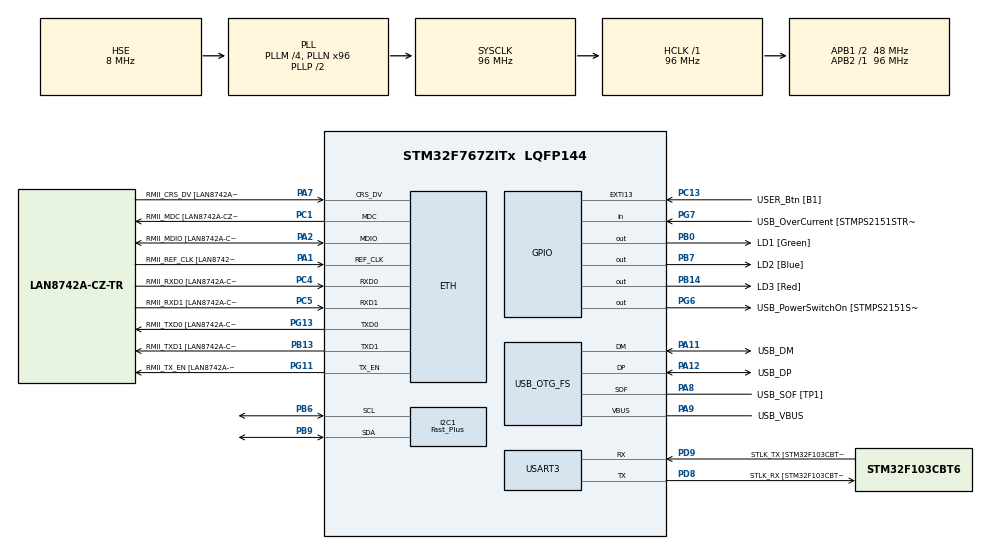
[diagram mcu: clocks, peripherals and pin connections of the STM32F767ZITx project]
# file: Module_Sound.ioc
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ETH.MediaInterface=ETH_MEDIA_INTERFACE_RMII
ETH.PHY_Name=LAN8742A_PHY_ADDRESS
ETH.PHY_Value=0
ETH.PhyAddress=0
I2C1.I2C_Speed_Mode=I2C_Fast_Plus
I2C1.Timing=0x20000209
Mcu.Family=STM32F7
Mcu.Name=STM32F767ZITx
Mcu.Package=LQFP144
NVIC.EXTI15_10_IRQn=true\:0\:0\:false\:false\:true\:true\:true
NVIC.PriorityGroup=NVIC_PRIORITYGROUP_4
NVIC.TIM8_TRG_COM_TIM14_IRQn=true\:0\:0\:false\:false\:true\:true\:true
NVIC.TIM8_UP_TIM13_IRQn=true\:0\:0\:false\:false\:true\:true\:true
PA1.GPIO_Label=RMII_REF_CLK [LAN8742A-CZ-TR_REFCLK0]
PA1.Mode=RMII
PA1.Signal=ETH_REF_CLK
PA10.GPIO_Label=USB_ID
PA10.Signal=USB_OTG_FS_ID
PA11.GPIO_Label=USB_DM
PA11.Mode=Device_Only
PA11.Signal=USB_OTG_FS_DM
PA12.GPIO_Label=USB_DP
PA12.Mode=Device_Only
PA12.Signal=USB_OTG_FS_DP
PA13.GPIO_Label=TMS
PA13.Mode=Serial_Wire
PA13.Signal=SYS_JTMS-SWDIO
PA14.GPIO_Label=TCK
PA14.Mode=Serial_Wire
PA14.Signal=SYS_JTCK-SWCLK
PA2.GPIO_Label=RMII_MDIO [LAN8742A-CZ-TR_MDIO]
PA2.Mode=RMII
PA2.Signal=ETH_MDIO
PA7.GPIO_Label=RMII_CRS_DV [LAN8742A-CZ-TR_CRS_DV]
PA7.Mode=RMII
PA7.Signal=ETH_CRS_DV
PA8.GPIO_Label=USB_SOF [TP1]
PA8.Mode=Activate_SOF_FS
PA8.Signal=USB_OTG_FS_SOF
PA9.GPIO_Label=USB_VBUS
PA9.Mode=Activate_VBUS
PA9.Signal=USB_OTG_FS_VBUS
PB0.GPIO_Label=LD1 [Green]
PB0.Signal=GPIO_Output
PB13.GPIO_Label=RMII_TXD1 [LAN8742A-CZ-TR_TXD1]
PB13.Mode=RMII
PB13.Signal=ETH_TXD1
PB14.GPIO_Label=LD3 [Red]
PB14.Signal=GPIO_Output
PB3.GPIO_Label=SWO
PB3.Signal=SYS_JTDO-SWO
PB6.Mode=I2C
PB6.Signal=I2C1_SCL
PB7.GPIO_Label=LD2 [Blue]
PB7.Signal=GPIO_Output
PB9.Mode=I2C
PB9.Signal=I2C1_SDA
PC1.GPIO_Label=RMII_MDC [LAN8742A-CZ-TR_MDC]
PC1.Mode=RMII
PC1.Signal=ETH_MDC
PC13.GPIO_Label=USER_Btn [B1]
PC13.Signal=GPXTI13
PC14/OSC32_IN.Mode=LSE-External-Oscillator
PC14/OSC32_IN.Signal=RCC_OSC32_IN
PC15/OSC32_OUT.Mode=LSE-External-Oscillator
PC15/OSC32_OUT.Signal=RCC_OSC32_OUT
PC4.GPIO_Label=RMII_RXD0 [LAN8742A-CZ-TR_RXD0]
PC4.Mode=RMII
PC4.Signal=ETH_RXD0
PC5.GPIO_Label=RMII_RXD1 [LAN8742A-CZ-TR_RXD1]
PC5.Mode=RMII
PC5.Signal=ETH_RXD1
PD8.GPIO_Label=STLK_RX [STM32F103CBT6_PA3]
PD8.Mode=Asynchronous
PD8.Signal=USART3_TX
PD9.GPIO_Label=STLK_TX [STM32F103CBT6_PA2]
PD9.Mode=Asynchronous
PD9.Signal=USART3_RX
PG11.GPIO_Label=RMII_TX_EN [LAN8742A-CZ-TR_TXEN]
PG11.Mode=RMII
PG11.Signal=ETH_TX_EN
PG13.GPIO_Label=RMII_TXD0 [LAN8742A-CZ-TR_TXD0]
PG13.Mode=RMII
PG13.Signal=ETH_TXD0
PG6.GPIO_Label=USB_PowerSwitchOn [STMPS2151STR_EN]
PG6.Signal=GPIO_Output
PG7.GPIO_Label=USB_OverCurrent [STMPS2151STR_FAULT]
PG7.Signal=GPIO_Input
PH0/OSC_IN.GPIO_Label=MCO [STM32F103CBT6_PA8]
PH0/OSC_IN.Mode=HSE-External-Clock-Source
PH0/OSC_IN.Signal=RCC_OSC_IN
PH1/OSC_OUT.Mode=HSE-External-Clock-Source
PH1/OSC_OUT.Signal=RCC_OSC_OUT
ProjectManager.HeapSize=0x200
ProjectManager.StackSize=0x400
ProjectManager.TargetToolchain=STM32CubeIDE
RCC.48MHZClocksFreq_Value=24000000
RCC.AHBFreq_Value=96000000
RCC.APB1CLKDivider=RCC_HCLK_DIV2
RCC.APB1Freq_Value=48000000
RCC.APB1TimFreq_Value=96000000
RCC.APB2Freq_Value=96000000
RCC.APB2TimFreq_Value=96000000
RCC.CortexFreq_Value=96000000
RCC.HCLKFreq_Value=96000000
RCC.HSE_VALUE=8000000
RCC.HSI_VALUE=16000000
RCC.PLLM=4
RCC.PLLMUL=RCC_PLL_MUL9
RCC.PLLN=96
RCC.PLLQ=4
RCC.PRESCALERUSB=RCC_USBCLKSOURCE_PLL_DIV1_5
RCC.SYSCLKFreq_VALUE=96000000
RCC.SYSCLKSource=RCC_SYSCLKSOURCE_PLLCLK
RCC.SYSCLKSourceVirtual=RCC_SYSCLKSOURCE_PLLCLK
RCC.USBFreq_Value=48000000
RCC.VCOOutputFreq_Value=192000000
TIM13.AutoReloadPreload=TIM_AUTORELOAD_PRELOAD_ENABLE
TIM13.Period=5186-1
TIM13.Prescaler=80-1
TIM14.AutoReloadPreload=TIM_AUTORELOAD_PRELOAD_ENABLE
TIM14.Period=1500-1
TIM14.Prescaler=8000-1
USART3.VirtualMode-Asynchronous=VM_ASYNC
USB_OTG_FS.VirtualMode=Device_Only
VP_TIM13_VS_ClockSourceINT.Mode=Enable_Timer
VP_TIM14_VS_ClockSourceINT.Mode=Enable_Timer
board=NUCLEO-F767ZI

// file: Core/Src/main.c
/* USER CODE BEGIN Header */
/**
  ******************************************************************************
  * @file           : main.c
  * @brief          : Main program body
  ******************************************************************************
  * @attention
  *
  * Copyright (c) 2022 STMicroelectronics.
  * All rights reserved.
  *
  * This software is licensed under terms that can be found in the LICENSE file
  * in the root directory of this software component.
  * If no LICENSE file comes with this software, it is provided AS-IS.
  *
  ******************************************************************************
  */
/* USER CODE END Header */
#include "main.h"

/* USER CODE BEGIN Includes */
#include "wave_from.h"
#include "stdio.h"
#include "melody.h"
/* USER CODE END Includes */

/* USER CODE BEGIN PD */

static const uint8_t MIC_ADDR = (0x48 << 1);
#define I2C_ADDR_SPEAK 0xC4
HAL_StatusTypeDef ret;
//#define I2C_ADDR_SPEAK (0x60 << 1)

/* USER CODE END PD */

ETH_HandleTypeDef heth;

I2C_HandleTypeDef hi2c1;

TIM_HandleTypeDef htim13;
TIM_HandleTypeDef htim14;

UART_HandleTypeDef huart3;

PCD_HandleTypeDef hpcd_USB_OTG_FS;

/* USER CODE BEGIN PV */
uint8_t counter = 0;
uint8_t counter_2 = 0;

uint8_t countermel = 0;
uint8_t counter_len = 1;
uint8_t playing = 0;
uint8_t melody_started = 1;
/* USER CODE END PV */

void SystemClock_Config(void);
static void MX_GPIO_Init(void);
static void MX_ETH_Init(void);
static void MX_USART3_UART_Init(void);
static void MX_USB_OTG_FS_PCD_Init(void);
static void MX_I2C1_Init(void);
static void MX_TIM14_Init(void);
static void MX_TIM13_Init(void);

int main(void)
{

  /* MCU Configuration--------------------------------------------------------*/

  /* Reset of all peripherals, Initializes the Flash interface and the Systick. */
  HAL_Init();

  /* Configure the system clock */
  SystemClock_Config();

  /* Initialize all configured peripherals */
  MX_GPIO_Init();
//  MX_ETH_Init();
  MX_USART3_UART_Init();
  MX_USB_OTG_FS_PCD_Init();
  MX_I2C1_Init();
  MX_TIM14_Init();
  MX_TIM13_Init();

  /* Infinite loop */
  /* USER CODE BEGIN WHILE */

 ///////////// FILL IN A BUFFER WITH A SINE WAVEFORM IF NEEDED
//  uint8_t buffer_long[128];
//  for (uint8_t i = 0; i < 64; ++i)
//  {
//	  buffer_long[2*i] = 0x00 | ((DACLookup_FullSine_6Bit[i] & 0xF00) >> 8) ;
//	  buffer_long[2*i+1] = (DACLookup_FullSine_6Bit[i] & 0x0FF);
//
//
//  }

  uint8_t buffer_conf[3];
  uint16_t val;
  uint16_t val_prev;
  buffer_conf[0] = 0b00000001;
  buffer_conf[1] = 0b00000100;
  buffer_conf[2] = 0b10000011;

  HAL_TIM_Base_Start_IT(&htim14); //TWO TIMERS START, ONE TO CHANGE BETWEEN EACH TONE OF A MELODY (see at the end of the file)

  HAL_TIM_Base_Start_IT(&htim13); //THE NEXT ONE TO CHANGE THE VALUE SENT TO THE SPEAKER, 1 OR 0, CREATING A SQUARE WAVE

  //Init Mic
  ret = HAL_I2C_Master_Transmit(&hi2c1, MIC_ADDR, buffer_conf, 3, 0xFFFFFF);

  uint8_t buffer_conv[1];
  uint8_t buffer_data[2];
  uint8_t Buffer[30] = {0};

  while (1)
  {

////Start Mic recording

	  buffer_conv[0] = 0b00000000;

	  ret = HAL_I2C_Master_Transmit(&hi2c1, MIC_ADDR, buffer_conv, 1, 0xFFFFFF);

	  ret = HAL_I2C_Master_Receive(&hi2c1, MIC_ADDR, buffer_data, 2, 0xFFFFFF);
	  val_prev = val;
	  val =  ((int16_t)(buffer_data[0] << 4) | (buffer_data[1]>>4));

	  sprintf(Buffer, "0x%u\r\n", val);
	  HAL_UART_Transmit(&huart3, Buffer, sizeof(Buffer), 10000);

	  //Value of a LED change when an user tap on the mic

	  if (val-val_prev > 0x20)
	  {
		 HAL_GPIO_WritePin(GPIOB, GPIO_PIN_0, GPIO_PIN_SET);
	  }else{
		  HAL_GPIO_WritePin(GPIOB, GPIO_PIN_0, GPIO_PIN_RESET);
	  }

	  HAL_Delay(20);

	  //END MIC

    /* USER CODE END WHILE */

  }
}

void SystemClock_Config(void)
{
  RCC_OscInitTypeDef RCC_OscInitStruct = {0};
  RCC_ClkInitTypeDef RCC_ClkInitStruct = {0};

  /** Configure LSE Drive Capability
  */
  HAL_PWR_EnableBkUpAccess();
  /** Configure the main internal regulator output voltage
  */
  __HAL_RCC_PWR_CLK_ENABLE();
  __HAL_PWR_VOLTAGESCALING_CONFIG(PWR_REGULATOR_VOLTAGE_SCALE3);
  /** Initializes the RCC Oscillators according to the specified parameters
  * in the RCC_OscInitTypeDef structure.
  */
  RCC_OscInitStruct.OscillatorType = RCC_OSCILLATORTYPE_HSE;
  RCC_OscInitStruct.HSEState = RCC_HSE_BYPASS;
  RCC_OscInitStruct.PLL.PLLState = RCC_PLL_ON;
  RCC_OscInitStruct.PLL.PLLSource = RCC_PLLSOURCE_HSE;
  RCC_OscInitStruct.PLL.PLLM = 4;
  RCC_OscInitStruct.PLL.PLLN = 96;
  RCC_OscInitStruct.PLL.PLLP = RCC_PLLP_DIV2;
  RCC_OscInitStruct.PLL.PLLQ = 4;
  RCC_OscInitStruct.PLL.PLLR = 2;
  if (HAL_RCC_OscConfig(&RCC_OscInitStruct) != HAL_OK)
  {
    Error_Handler();
  }
  /** Activate the Over-Drive mode
  */
  if (HAL_PWREx_EnableOverDrive() != HAL_OK)
  {
    Error_Handler();
  }
  /** Initializes the CPU, AHB and APB buses clocks
  */
  RCC_ClkInitStruct.ClockType = RCC_CLOCKTYPE_HCLK|RCC_CLOCKTYPE_SYSCLK
                              |RCC_CLOCKTYPE_PCLK1|RCC_CLOCKTYPE_PCLK2;
  RCC_ClkInitStruct.SYSCLKSource = RCC_SYSCLKSOURCE_PLLCLK;
  RCC_ClkInitStruct.AHBCLKDivider = RCC_SYSCLK_DIV1;
  RCC_ClkInitStruct.APB1CLKDivider = RCC_HCLK_DIV2;
  RCC_ClkInitStruct.APB2CLKDivider = RCC_HCLK_DIV1;

  if (HAL_RCC_ClockConfig(&RCC_ClkInitStruct, FLASH_LATENCY_3) != HAL_OK)
  {
    Error_Handler();
  }
}

static void MX_ETH_Init(void)
{

   static uint8_t MACAddr[6];

  heth.Instance = ETH;
  heth.Init.AutoNegotiation = ETH_AUTONEGOTIATION_ENABLE;
  heth.Init.Speed = ETH_SPEED_100M;
  heth.Init.DuplexMode = ETH_MODE_FULLDUPLEX;
  heth.Init.PhyAddress = LAN8742A_PHY_ADDRESS;
  MACAddr[0] = 0x00;
  MACAddr[1] = 0x80;
  MACAddr[2] = 0xE1;
  MACAddr[3] = 0x00;
  MACAddr[4] = 0x00;
  MACAddr[5] = 0x00;
  heth.Init.MACAddr = &MACAddr[0];
  heth.Init.RxMode = ETH_RXPOLLING_MODE;
  heth.Init.ChecksumMode = ETH_CHECKSUM_BY_HARDWARE;
  heth.Init.MediaInterface = ETH_MEDIA_INTERFACE_RMII;

  if (HAL_ETH_Init(&heth) != HAL_OK)
  {
    Error_Handler();
  }

}

static void MX_I2C1_Init(void)
{

  hi2c1.Instance = I2C1;
  hi2c1.Init.Timing = 0x20000209;
  hi2c1.Init.OwnAddress1 = 0;
  hi2c1.Init.AddressingMode = I2C_ADDRESSINGMODE_7BIT;
  hi2c1.Init.DualAddressMode = I2C_DUALADDRESS_DISABLE;
  hi2c1.Init.OwnAddress2 = 0;
  hi2c1.Init.OwnAddress2Masks = I2C_OA2_NOMASK;
  hi2c1.Init.GeneralCallMode = I2C_GENERALCALL_DISABLE;
  hi2c1.Init.NoStretchMode = I2C_NOSTRETCH_DISABLE;
  if (HAL_I2C_Init(&hi2c1) != HAL_OK)
  {
    Error_Handler();
  }
  /** Configure Analogue filter
  */
  if (HAL_I2CEx_ConfigAnalogFilter(&hi2c1, I2C_ANALOGFILTER_ENABLE) != HAL_OK)
  {
    Error_Handler();
  }
  /** Configure Digital filter
  */
  if (HAL_I2CEx_ConfigDigitalFilter(&hi2c1, 0) != HAL_OK)
  {
    Error_Handler();
  }
  /** I2C Enable Fast Mode Plus
  */
  HAL_I2CEx_EnableFastModePlus(I2C_FASTMODEPLUS_I2C1);

}

static void MX_TIM13_Init(void)
{

  htim13.Instance = TIM13;
  htim13.Init.Prescaler = 80-1;
  htim13.Init.CounterMode = TIM_COUNTERMODE_UP;
  htim13.Init.Period = 5186-1;
  htim13.Init.ClockDivision = TIM_CLOCKDIVISION_DIV1;
  htim13.Init.AutoReloadPreload = TIM_AUTORELOAD_PRELOAD_ENABLE;
  if (HAL_TIM_Base_Init(&htim13) != HAL_OK)
  {
    Error_Handler();
  }

}

static void MX_TIM14_Init(void)
{

  htim14.Instance = TIM14;
  htim14.Init.Prescaler = 8000-1;
  htim14.Init.CounterMode = TIM_COUNTERMODE_UP;
  htim14.Init.Period = 1500-1;
  htim14.Init.ClockDivision = TIM_CLOCKDIVISION_DIV1;
  htim14.Init.AutoReloadPreload = TIM_AUTORELOAD_PRELOAD_ENABLE;
  if (HAL_TIM_Base_Init(&htim14) != HAL_OK)
  {
    Error_Handler();
  }

}

static void MX_USART3_UART_Init(void)
{

  huart3.Instance = USART3;
  huart3.Init.BaudRate = 115200;
  huart3.Init.WordLength = UART_WORDLENGTH_8B;
  huart3.Init.StopBits = UART_STOPBITS_1;
  huart3.Init.Parity = UART_PARITY_NONE;
  huart3.Init.Mode = UART_MODE_TX_RX;
  huart3.Init.HwFlowCtl = UART_HWCONTROL_NONE;
  huart3.Init.OverSampling = UART_OVERSAMPLING_16;
  huart3.Init.OneBitSampling = UART_ONE_BIT_SAMPLE_DISABLE;
  huart3.AdvancedInit.AdvFeatureInit = UART_ADVFEATURE_NO_INIT;
  if (HAL_UART_Init(&huart3) != HAL_OK)
  {
    Error_Handler();
  }

}

static void MX_USB_OTG_FS_PCD_Init(void)
{

  hpcd_USB_OTG_FS.Instance = USB_OTG_FS;
  hpcd_USB_OTG_FS.Init.dev_endpoints = 6;
  hpcd_USB_OTG_FS.Init.speed = PCD_SPEED_FULL;
  hpcd_USB_OTG_FS.Init.dma_enable = DISABLE;
  hpcd_USB_OTG_FS.Init.phy_itface = PCD_PHY_EMBEDDED;
  hpcd_USB_OTG_FS.Init.Sof_enable = ENABLE;
  hpcd_USB_OTG_FS.Init.low_power_enable = DISABLE;
  hpcd_USB_OTG_FS.Init.lpm_enable = DISABLE;
  hpcd_USB_OTG_FS.Init.vbus_sensing_enable = ENABLE;
  hpcd_USB_OTG_FS.Init.use_dedicated_ep1 = DISABLE;
  if (HAL_PCD_Init(&hpcd_USB_OTG_FS) != HAL_OK)
  {
    Error_Handler();
  }

}

static void MX_GPIO_Init(void)
{
  GPIO_InitTypeDef GPIO_InitStruct = {0};

  /* GPIO Ports Clock Enable */
  __HAL_RCC_GPIOC_CLK_ENABLE();
  __HAL_RCC_GPIOH_CLK_ENABLE();
  __HAL_RCC_GPIOA_CLK_ENABLE();
  __HAL_RCC_GPIOB_CLK_ENABLE();
  __HAL_RCC_GPIOD_CLK_ENABLE();
  __HAL_RCC_GPIOG_CLK_ENABLE();

  /*Configure GPIO pin Output Level */
  HAL_GPIO_WritePin(GPIOB, LD1_Pin|LD3_Pin|LD2_Pin, GPIO_PIN_RESET);

  /*Configure GPIO pin Output Level */
  HAL_GPIO_WritePin(USB_PowerSwitchOn_GPIO_Port, USB_PowerSwitchOn_Pin, GPIO_PIN_RESET);

  /*Configure GPIO pin : USER_Btn_Pin */
  GPIO_InitStruct.Pin = USER_Btn_Pin;
  GPIO_InitStruct.Mode = GPIO_MODE_IT_RISING;
  GPIO_InitStruct.Pull = GPIO_NOPULL;
  HAL_GPIO_Init(USER_Btn_GPIO_Port, &GPIO_InitStruct);

  /*Configure GPIO pins : LD1_Pin LD3_Pin LD2_Pin */
  GPIO_InitStruct.Pin = LD1_Pin|LD3_Pin|LD2_Pin;
  GPIO_InitStruct.Mode = GPIO_MODE_OUTPUT_PP;
  GPIO_InitStruct.Pull = GPIO_NOPULL;
  GPIO_InitStruct.Speed = GPIO_SPEED_FREQ_LOW;
  HAL_GPIO_Init(GPIOB, &GPIO_InitStruct);

  /*Configure GPIO pin : USB_PowerSwitchOn_Pin */
  GPIO_InitStruct.Pin = USB_PowerSwitchOn_Pin;
  GPIO_InitStruct.Mode = GPIO_MODE_OUTPUT_PP;
  GPIO_InitStruct.Pull = GPIO_NOPULL;
  GPIO_InitStruct.Speed = GPIO_SPEED_FREQ_LOW;
  HAL_GPIO_Init(USB_PowerSwitchOn_GPIO_Port, &GPIO_InitStruct);

  /*Configure GPIO pin : USB_OverCurrent_Pin */
  GPIO_InitStruct.Pin = USB_OverCurrent_Pin;
  GPIO_InitStruct.Mode = GPIO_MODE_INPUT;
  GPIO_InitStruct.Pull = GPIO_NOPULL;
  HAL_GPIO_Init(USB_OverCurrent_GPIO_Port, &GPIO_InitStruct);

  /* EXTI interrupt init*/
  HAL_NVIC_SetPriority(EXTI15_10_IRQn, 0, 0);
  HAL_NVIC_EnableIRQ(EXTI15_10_IRQn);

}

/* USER CODE BEGIN 4 */
// Callback: timer has rolled over
void HAL_TIM_PeriodElapsedCallback(TIM_HandleTypeDef *htim)
{
  if (htim == &htim14 )
  {
	  if (playing==0)
	  {
		  playing = 1;
		  uint16_t tone = hymne_joy[countermel];
		  uint16_t presc = freq_to_presc(tone);
		  TIM13->ARR = presc-1;
	  }else{
		  uint8_t count_tot = hymne_joy[countermel+1];
		  if (counter_len <= count_tot)
		  {
			  if (counter_len == count_tot)
			  {
					playing = 0;
			  	  	countermel += 2;
			  	  	counter_len = 0;

			  }
			  counter_len += 1;
		  }
		  if (countermel >= 60)
		  {
			  countermel = 0;
			  counter_len = 1;
			  playing = 0;
			  melody_started = 0;
		  }
	  }
  }

  if (htim == &htim13 )
  {
	  if ((playing == 1) & (melody_started == 1))
	  {
		  uint8_t buffer[3];
				  if (counter_2 == 0)
				  {
					  buffer[2] = 0x40;
					  buffer[1] = 0xFF;
					  buffer[0] = 0x40;
					  HAL_I2C_Master_Transmit(&hi2c1, I2C_ADDR_SPEAK, buffer, 3, 0xFFFFFF);
					  counter_2 = 1;
				  }
				  else if (counter_2 == 1)
				  {
					  buffer[2] = 0x00;
					  buffer[1] = 0x00;
					  buffer[0] = 0x40;
					  HAL_I2C_Master_Transmit(&hi2c1, I2C_ADDR_SPEAK, buffer, 3, 0xFFFFFF);
					  counter_2 = 0;
				  }
	  }
  }
}

/* USER CODE END 4 */

void Error_Handler(void)
{
  __disable_irq();
  while (1)
  {
  }
}
